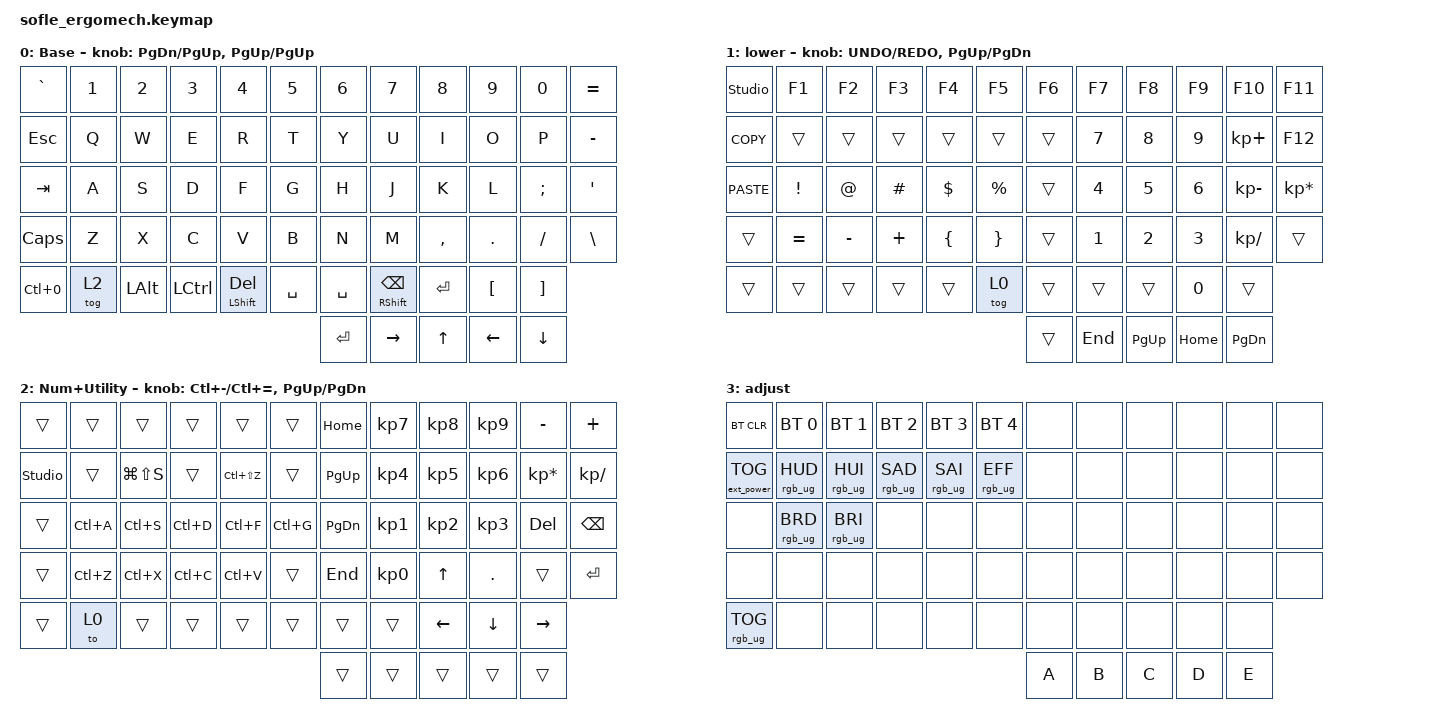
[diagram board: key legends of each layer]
/*
 * Copyright (c) 2020 The ZMK Contributors
 *
 * SPDX-License-Identifier: MIT
 */

#include <behaviors.dtsi>
#include <dt-bindings/zmk/bt.h>
#include <dt-bindings/zmk/ext_power.h>
#include <dt-bindings/zmk/keys.h>
#include <dt-bindings/zmk/rgb.h>

#define BASE 0
#define LOWER 1
#define RAISE 2
#define ADJUST 3

/ {
    // Activate ADJUST layer by pressing raise and lower

    conditional_layers {
        compatible = "zmk,conditional-layers";

        adjust_layer {
            if-layers = <LOWER RAISE>;
            then-layer = <ADJUST>;
        };
    };

    macros {
        Cut: Cut {
            compatible = "zmk,behavior-macro";
            #binding-cells = <0>;
            bindings = <&kp LC(X)>;
            label = "CUT";
        };

        Copy: Copy {
            compatible = "zmk,behavior-macro";
            #binding-cells = <0>;
            bindings = <&kp LC(C)>;
            label = "COPY";
        };

        Paste: Paste {
            compatible = "zmk,behavior-macro";
            #binding-cells = <0>;
            bindings = <&kp LC(V)>;
            label = "PASTE";
        };

        Save: Save {
            compatible = "zmk,behavior-macro";
            #binding-cells = <0>;
            bindings = <&kp LC(S)>;
            label = "SAVE";
        };

        Find: Find {
            compatible = "zmk,behavior-macro";
            #binding-cells = <0>;
            bindings = <&kp LC(F)>;
            label = "FIND";
        };

        Undo: Undo {
            compatible = "zmk,behavior-macro";
            #binding-cells = <0>;
            bindings = <&kp LC(Z)>;
            label = "UNDO";
        };
    };

    keymap {
        compatible = "zmk,keymap";

        default_layer {
            label = "Base";

            // ------------------------------------------------------------------------------------------------------------
            // |   `   |  1  |  2  |  3   |  4   |  5   |                   |  6   |  7    |  8    |  9   |   0   |       |
            // |  ESC  |  Q  |  W  |  E   |  R   |  T   |                   |  Y   |  U    |  I    |  O   |   P   | BKSPC |
            // |  TAB  |  A  |  S  |  D   |  F   |  G   |                   |  H   |  J    |  K    |  L   |   ;   |   '   |
            // | SHIFT |  Z  |  X  |  C   |  V   |  B   |  MUTE  |  |       |  N   |  M    |  ,    |  .   |   /   | SHIFT |
            //               | GUI | ALT  | CTRL | LOWER|  ENTER |  | SPACE | RAISE| CTRL  | ALT   | GUI  |

            bindings = <
&kp GRAVE   &kp N1  &kp N2    &kp N3     &kp N4                 &kp N5     &kp N6     &kp N7                     &kp N8        &kp N9    &kp N0    &kp EQUAL
&kp ESC     &kp Q   &kp W     &kp E      &kp R                  &kp T      &kp Y      &kp U                      &kp I         &kp O     &kp P     &kp MINUS
&kp TAB     &kp A   &kp S     &kp D      &kp F                  &kp G      &kp H      &kp J                      &kp K         &kp L     &kp SEMI  &kp SQT
&kp CAPS    &kp Z   &kp X     &kp C      &kp V                  &kp B      &kp N      &kp M                      &kp COMMA     &kp DOT   &kp FSLH  &kp BACKSLASH
&kp LC(N0)  &tog 2  &kp LALT  &kp LCTRL  &mt LEFT_SHIFT DELETE  &kp SPACE  &kp SPACE  &mt RIGHT_SHIFT BACKSPACE  &kp ENTER     &kp LBKT  &kp RBKT
                                                                           &kp ENTER  &kp RIGHT                  &kp UP_ARROW  &kp LEFT  &kp DOWN
            >;

            sensor-bindings =
                <&inc_dec_kp PAGE_DOWN PAGE_UP>,
                <&inc_dec_kp PG_UP PG_UP>;
        };

        lower_layer {
            label = "lower";

            // TODO: Some binds are waiting for shifted keycode support.
            // ------------------------------------------------------------------------------------------------------------
            // |       |  F1 |  F2 |  F3  |  F4  |  F5  |                   |  F6  |  F7   |  F8   |  F9  |  F10  |  F11  |
            // |   `   |  1  |  2  |  3   |  4   |  5   |                   |  6   |  7    |  8    |  9   |   0   |  F12  |
            // |       |  !  |  @  |  #   |  $   |  %   |                   |  ^   |  &    |  *    |  (   |   )   |   |   |
            // |       |  =  |  -  |  +   |  {   |  }   |        |  |       |  [   |  ]    |  ;    |  :   |   \   |       |
            //               |     |      |      |      |        |  |       |      |       |       |      |

            bindings = <
&studio_unlock  &kp F1     &kp F2     &kp F3    &kp F4    &kp F5     &kp F6  &kp F7   &kp F8       &kp F9    &kp F10          &kp F11
&kp K_COPY      &trans     &trans     &trans    &trans    &trans     &trans  &kp N7   &kp N8       &kp N9    &kp KP_PLUS      &kp F12
&kp K_PASTE     &kp EXCL   &kp AT     &kp HASH  &kp DLLR  &kp PRCNT  &trans  &kp N4   &kp N5       &kp N6    &kp KP_SUBTRACT  &kp KP_MULTIPLY
&trans          &kp EQUAL  &kp MINUS  &kp PLUS  &kp LBRC  &kp RBRC   &trans  &kp N1   &kp N2       &kp N3    &kp KP_DIVIDE    &trans
&trans          &trans     &trans     &trans    &trans    &tog 0     &trans  &trans   &trans       &kp N0    &trans
                                                                     &trans  &kp END  &kp PAGE_UP  &kp HOME  &kp PAGE_DOWN
            >;

            sensor-bindings =
                <&inc_dec_kp K_UNDO K_REDO>,
                <&inc_dec_kp PG_UP PG_DN>;
        };

        raise_layer {
            label = "Num+Utility";

            // ------------------------------------------------------------------------------------------------------------
            // | BTCLR | BT1  | BT2  |  BT3  |  BT4  |  BT5 |                |      |      |       |      |       |       |
            // |       | INS  | PSCR | GUI   |       |      |                | PGUP |      |   ^   |      |       |       |
            // |       | ALT  | CTRL | SHIFT |       | CAPS |                | PGDN |   <- |   v   |  ->  |  DEL  | BKSPC |
            // |       | UNDO | CUT  | COPY  | PASTE |      |      |  |      |      |      |       |      |       |       |
            //                |      |       |       |      |      |  |      |      |      |       |      |

            bindings = <
&trans          &trans     &trans         &trans     &trans         &trans     &kp HOME   &kp KP_NUMBER_7  &kp KP_NUMBER_8  &kp KP_NUMBER_9  &kp MINUS        &kp PLUS
&studio_unlock  &trans     &kp LG(LS(S))  &trans     &kp LC(LS(Z))  &trans     &kp PG_UP  &kp KP_NUMBER_4  &kp KP_NUMBER_5  &kp KP_NUMBER_6  &kp KP_MULTIPLY  &kp KP_DIVIDE
&trans          &kp LC(A)  &kp LC(S)      &kp LC(D)  &kp LC(F)      &kp LC(G)  &kp PG_DN  &kp KP_NUMBER_1  &kp KP_NUMBER_2  &kp KP_NUMBER_3  &kp DEL          &kp BSPC
&trans          &kp LC(Z)  &kp LC(X)      &kp LC(C)  &kp LC(V)      &trans     &kp END    &kp KP_NUMBER_0  &kp UP           &kp PERIOD       &trans           &kp ENTER
&trans          &to 0      &trans         &trans     &trans         &trans     &trans     &trans           &kp LEFT         &kp DOWN         &kp RIGHT
                                                                               &trans     &trans           &trans           &trans           &trans
            >;

            sensor-bindings =
                <&inc_dec_kp LC(MINUS) LC(EQUAL)>,
                <&inc_dec_kp PG_UP PG_DN>;
        };

        adjust_layer {
            // ----------------------------------------------------------------------------------------------------------------------------
            // | BTCLR  |  BT1    |  BT2    |   BT3   |   BT4   |   BT5   |                  |      |      |       |      |       |       |
            // | EXTPWR | RGB_HUD | RGB_HUI | RGB_SAD | RGB_SAI | RGB_EFF |                  |      |      |       |      |       |       |
            // |        | RGB_BRD | RGB_BRI |         |         |         |                  |      |      |       |      |       |       |
            // |        |         |         |         |         |         | RGB_TOG | |      |      |      |       |      |       |       |
            //                    |         |         |         |         |         | |      |      |      |       |      |

            label = "adjust";
            bindings = <
&bt BT_CLR         &bt BT_SEL 0     &bt BT_SEL 1     &bt BT_SEL 2     &bt BT_SEL 3     &bt BT_SEL 4     &none  &none  &none  &none  &none  &none
&ext_power EP_TOG  &rgb_ug RGB_HUD  &rgb_ug RGB_HUI  &rgb_ug RGB_SAD  &rgb_ug RGB_SAI  &rgb_ug RGB_EFF  &none  &none  &none  &none  &none  &none
&none              &rgb_ug RGB_BRD  &rgb_ug RGB_BRI  &none            &none            &none            &none  &none  &none  &none  &none  &none
&none              &none            &none            &none            &none            &none            &none  &none  &none  &none  &none  &none
&rgb_ug RGB_TOG    &none            &none            &none            &none            &none            &none  &none  &none  &none  &none
                                                                                                        &kp A  &kp B  &kp C  &kp D  &kp E
            >;
        };
    };
};
